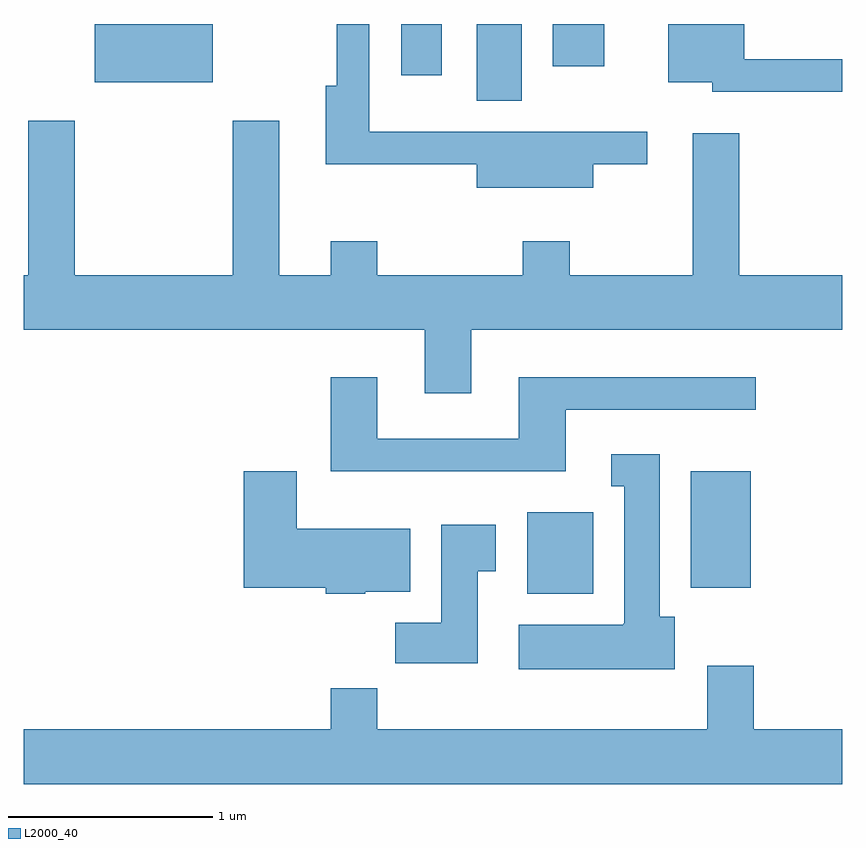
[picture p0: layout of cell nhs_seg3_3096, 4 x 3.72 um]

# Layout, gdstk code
import gdstk
lib = gdstk.Library(unit=1e-6, precision=1e-09)
def R(c, l, rs):  # rectangles x0, y0, x1, y1
    for r in rs: c.add(gdstk.rectangle(r[:2], r[2:], *l))
def P(c, l, *ps):  # polygons
    for p in ps: c.add(gdstk.Polygon(p, *l))
L2000_40 = (2000, 40)

nhs_seg3_3096 = lib.new_cell('nhs_seg3_3096')
R(nhs_seg3_3096, L2000_40, [(278.071,1189.106,278.394,1189.504), (278.871,1189.136,279.164,1189.704), (277.826,1191.516,278.044,1191.892), (275.956,1191.606,276.534,1191.892), (277.456,1191.641,277.654,1191.892), (278.196,1191.686,278.449,1191.892)])
P(nhs_seg3_3096, L2000_40, [(278.394,1191.206),(278.658,1191.206),(278.658,1191.364),(277.299,1191.364),(277.299,1191.892),(277.141,1191.892),(277.141,1191.589),(277.086,1191.589),(277.086,1191.206),(277.826,1191.206),(277.826,1191.091),(278.394,1191.091)],
  [(279.611,1191.719),(279.134,1191.719),(279.134,1191.892),(278.761,1191.892),(278.761,1191.606),(278.976,1191.606),(278.976,1191.561),(279.611,1191.561)],
  [(277.799,1190.396),(279.611,1190.396),(279.611,1190.664),(279.109,1190.664),(279.109,1191.359),(278.881,1191.359),(278.881,1190.664),(278.279,1190.664),(278.279,1190.829),(278.051,1190.829),(278.051,1190.664),(277.339,1190.664),(277.339,1190.829),(277.111,1190.829),(277.111,1190.664),(276.859,1190.664),(276.859,1191.419),(276.631,1191.419),(276.631,1190.664),(275.859,1190.664),(275.859,1191.419),(275.631,1191.419),(275.631,1190.664),(275.611,1190.664),(275.611,1190.396),(277.571,1190.396),(277.571,1190.086),(277.799,1190.086)],
  [(278.259,1190.006),(279.188,1190.006),(279.188,1190.164),(278.031,1190.164),(278.031,1189.864),(277.339,1189.864),(277.339,1190.164),(277.111,1190.164),(277.111,1189.706),(278.259,1189.706)],
  [(278.794,1188.994),(278.719,1188.994),(278.719,1189.789),(278.483,1189.789),(278.483,1189.631),(278.546,1189.631),(278.546,1188.96),(278.54,1188.96),(278.54,1188.954),(278.031,1188.954),(278.031,1188.736),(278.794,1188.736)],
  [(277.28,1189.116),(277.499,1189.116),(277.499,1189.424),(276.944,1189.424),(276.944,1189.704),(276.686,1189.704),(276.686,1189.136),(277.086,1189.136),(277.086,1189.106),(277.28,1189.106)],
  [(277.829,1189.216),(277.919,1189.216),(277.919,1189.444),(277.651,1189.444),(277.651,1188.964),(277.426,1188.964),(277.426,1188.766),(277.829,1188.766)],
  [(279.611,1188.444),(279.179,1188.444),(279.179,1188.754),(278.951,1188.754),(278.951,1188.444),(277.339,1188.444),(277.339,1188.644),(277.111,1188.644),(277.111,1188.444),(275.611,1188.444),(275.611,1188.176),(279.611,1188.176)])

lib.write_gds('nhs_seg3_3096.gds')
